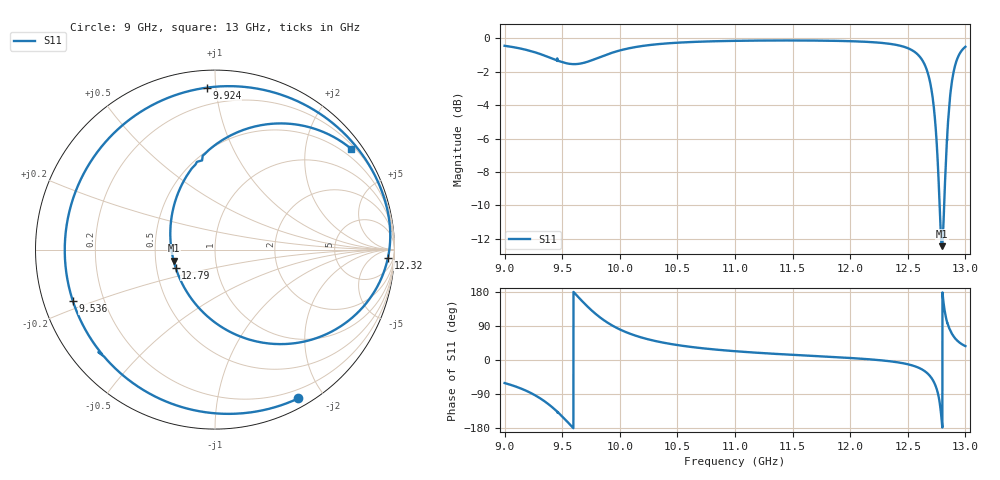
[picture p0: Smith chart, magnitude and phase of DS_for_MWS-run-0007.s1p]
! TOUCHSTONE file generated by CST DESIGN STUDIO
! Date and time: Tue Feb  4 18:18:01 2025
! Project name: C:\Work\MatlabApps\UnitCellOptimizationMatlab\CST\unitcell.cst
! Tree item: Tasks\Sweep1\SPara1\S-Parameters
! Header version: 2024
! Port assignment regex: !\s*Touchstone port\s*([0-9]+)\s*=\s*(CST MWS port|CST DES external port|CST DES block port)\s*(.+)\s* \(\"(.*)\"\)(\s*mode\s*([0-9]+))?.*
! Touchstone port assignment:
! Touchstone port 1 = CST DES external port 1 ("")
# GHz S MA R 50
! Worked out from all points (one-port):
!   4001 points, 9 GHz to 13 GHz, reference 50 ohm
!   lowest |S11| = -12.4 dB at 12.8 GHz (marker M1), VSWR 1.63, Z = 31.1 - j4.07 ohm
!   |S11| at or under -10 dB: 12.77637 GHz to 12.8157 GHz (39.33 MHz wide, 0.307 % of centre)
!   S11 on the Smith chart (normalised r, x): 9 GHz: 0.10, -1.70; 9.536 GHz: 0.09, -0.17; 9.924 GHz: 0.10, +0.95; 12.32 GHz: 21, -27; 12.79 GHz: 0.63, -0.13; 13 GHz: 0.29, +3.00
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9  0.95 -60.8
9.154  0.9296 -76.8
9.305  0.8985 -100.4
9.405  0.8721 -122.5
9.5  0.8485 -148.9
9.536  0.8422 -160.1
9.635  0.8382 167.6
9.746  0.8571 133.5
9.83  0.8793 112.0
9.924  0.9035 92.9
10  0.9199 80.7
10.217  0.951 56.9
10.5  0.9704 39.4
11  0.983 23.2
11.5  0.9855 13.6
12  0.9806 5.3
12.325  0.9648 -2.6
12.5  0.9346 -11.2
12.639  0.8446 -27.8
12.684  0.764 -39.3
12.723  0.6348 -56.0
12.759  0.4333 -85.1
12.793  0.2414 -155.4
12.796  0.2387 -165.0
12.827  0.4014 118.0
12.872  0.6943 75.5
12.931  0.8715 50.7
13  0.9435 36.6
